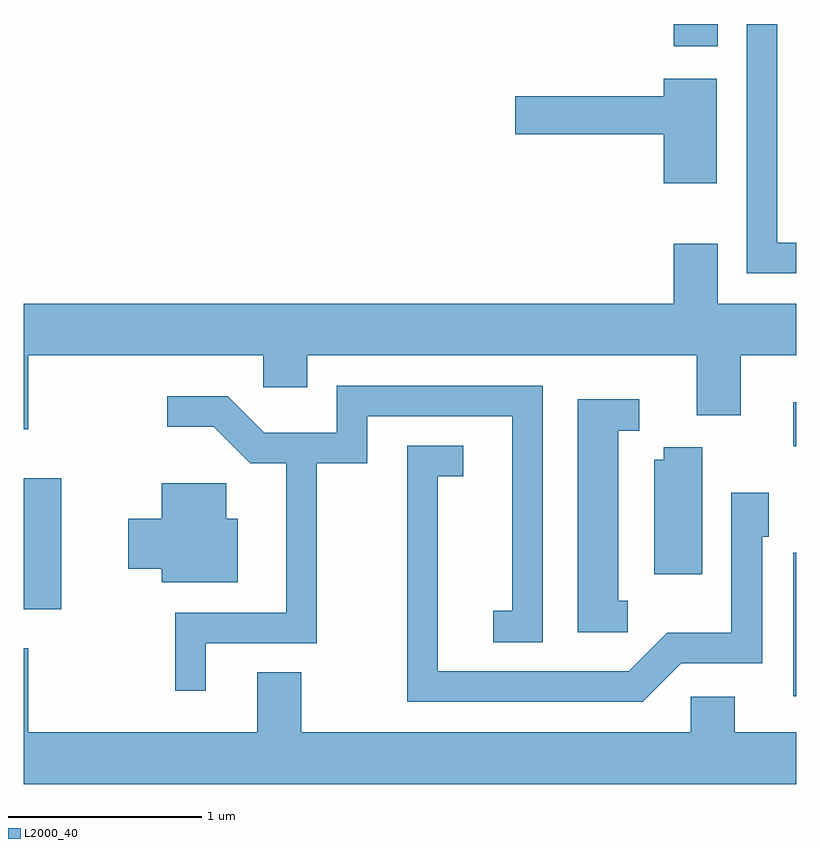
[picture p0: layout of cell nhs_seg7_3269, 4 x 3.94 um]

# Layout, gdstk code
import gdstk
lib = gdstk.Library(unit=1e-6, precision=1e-09)
def R(c, l, rs):  # rectangles x0, y0, x1, y1
    for r in rs: c.add(gdstk.rectangle(r[:2], r[2:], *l))
def P(c, l, *ps):  # polygons
    for p in ps: c.add(gdstk.Polygon(p, *l))
L2000_40 = (2000, 40)

nhs_seg7_3269 = lib.new_cell('nhs_seg7_3269')
R(nhs_seg7_3269, L2000_40, [(289.596,1714.771,289.611,1715.514), (285.611,1715.221,285.804,1715.899), (289.596,1716.066,289.611,1716.294), (288.976,1718.136,289.204,1718.252)])
P(nhs_seg7_3269, L2000_40, [(289.611,1717.119),(289.514,1717.119),(289.514,1718.252),(289.356,1718.252),(289.356,1716.961),(289.611,1716.961)],
  [(289.199,1717.969),(288.926,1717.969),(288.926,1717.879),(288.156,1717.879),(288.156,1717.681),(288.926,1717.681),(288.926,1717.426),(289.199,1717.426)],
  [(285.634,1716.536),(286.851,1716.536),(286.851,1716.371),(287.079,1716.371),(287.079,1716.536),(289.096,1716.536),(289.096,1716.226),(289.324,1716.226),(289.324,1716.536),(289.611,1716.536),(289.611,1716.804),(289.204,1716.804),(289.204,1717.114),(288.976,1717.114),(288.976,1716.804),(285.611,1716.804),(285.611,1716.153),(285.634,1716.153)],
  [(286.554,1715.046),(287.129,1715.046),(287.129,1715.976),(287.389,1715.976),(287.389,1716.221),(288.141,1716.221),(288.141,1715.214),(288.043,1715.214),(288.043,1715.051),(288.299,1715.051),(288.299,1716.379),(287.231,1716.379),(287.231,1716.134),(286.857,1716.134),(286.667,1716.324),(286.353,1716.324),(286.353,1716.166),(286.594,1716.166),(286.784,1715.976),(286.971,1715.976),(286.971,1715.204),(286.396,1715.204),(286.396,1714.798),(286.554,1714.798)],
  [(288.738,1715.264),(288.689,1715.264),(288.689,1716.146),(288.798,1716.146),(288.798,1716.309),(288.481,1716.309),(288.481,1715.101),(288.738,1715.101)],
  [(289.017,1714.941),(289.434,1714.941),(289.434,1715.596),(289.469,1715.596),(289.469,1715.824),(289.276,1715.824),(289.276,1715.099),(288.944,1715.099),(288.744,1714.899),(287.754,1714.899),(287.754,1715.911),(287.888,1715.911),(287.888,1716.069),(287.596,1716.069),(287.596,1714.741),(288.817,1714.741)],
  [(289.124,1716.059),(288.926,1716.059),(288.926,1715.994),(288.876,1715.994),(288.876,1715.401),(289.124,1715.401)],
  [(286.719,1715.689),(286.659,1715.689),(286.659,1715.874),(286.326,1715.874),(286.326,1715.689),(286.151,1715.689),(286.151,1715.431),(286.326,1715.431),(286.326,1715.361),(286.719,1715.361)],
  [(289.611,1714.584),(289.294,1714.584),(289.294,1714.769),(289.066,1714.769),(289.066,1714.584),(287.049,1714.584),(287.049,1714.894),(286.821,1714.894),(286.821,1714.584),(285.634,1714.584),(285.634,1715.018),(285.611,1715.018),(285.611,1714.316),(289.611,1714.316)])

lib.write_gds('nhs_seg7_3269.gds')
